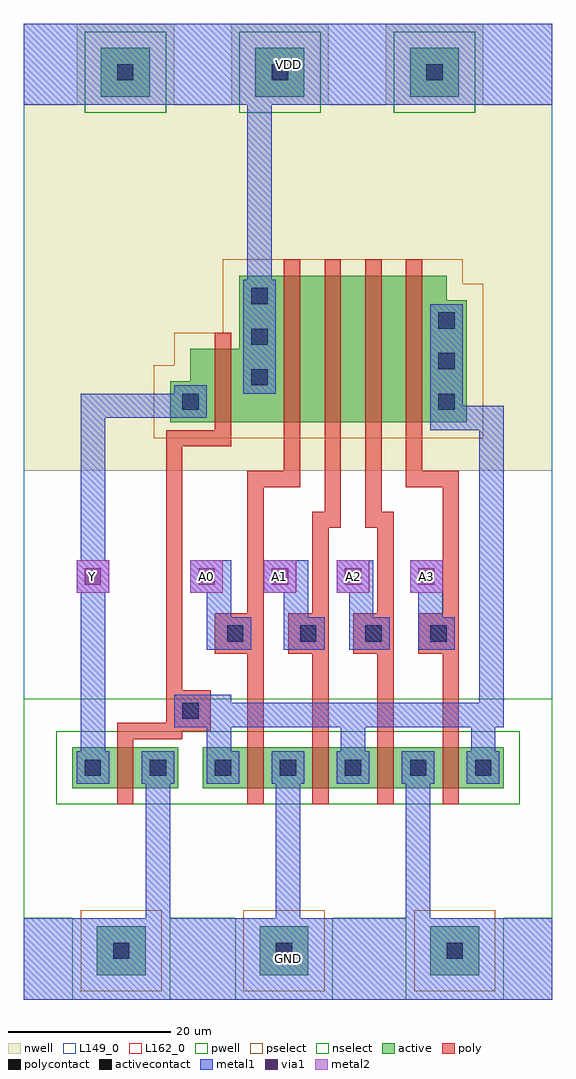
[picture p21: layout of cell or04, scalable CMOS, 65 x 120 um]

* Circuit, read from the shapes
.subckt or04 A0 A1 A2 A3 GND VDD Y
M1 GND n1 Y GND nfet w=5u l=2u
M2 GND A0 n1 GND nfet w=5u l=2u
M3 n1 A1 GND GND nfet w=5u l=2u
M4 GND A2 n1 GND nfet w=5u l=2u
M5 n1 A3 GND GND nfet w=5u l=2u
M6 VDD n1 Y VDD pfet w=9u l=2u
M7 n2 A0 VDD VDD pfet w=18u l=2u
M8 n3 A1 n2 VDD pfet w=18u l=2u
M9 n4 A2 n3 VDD pfet w=18u l=2u
M10 n1 A3 n4 VDD pfet w=18u l=2u
.ends

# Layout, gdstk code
import gdstk
lib = gdstk.Library(unit=1e-6, precision=1e-09)
def R(c, l, rs):  # rectangles x0, y0, x1, y1
    for r in rs: c.add(gdstk.rectangle(r[:2], r[2:], *l))
def A(c, l, x, y, w, h, nx, ny, dx, dy):  # array of equal rectangles
    R(c, l, [(x+i*dx, y+j*dy, x+i*dx+w, y+j*dy+h) for i in range(nx) for j in range(ny)])
def P(c, l, *ps):  # polygons
    for p in ps: c.add(gdstk.Polygon(p, *l))
pwell = (41, 0)
nwell = (42, 0)
active = (43, 0)
pselect = (44, 0)
nselect = (45, 0)
poly = (46, 0)
polycontact = (47, 0)
activecontact = (48, 0)
metal1 = (49, 0)
via1 = (50, 0)
metal2 = (51, 0)
L149_0 = (149, 0)
L162_0 = (162, 0)

nwell_contact = lib.new_cell('nwell_contact')
R(nwell_contact, nwell, [(-6,-5,6,6)])
R(nwell_contact, active, [(-3,-3,3,3)])
R(nwell_contact, nselect, [(-5,-5,5,5)])
R(nwell_contact, activecontact, [(-1,-1,1,1)])

pwell_contact = lib.new_cell('pwell_contact')
R(pwell_contact, pwell, [(-6,-6,6,5)])
R(pwell_contact, active, [(-3,-3,3,3)])
R(pwell_contact, pselect, [(-5,-5,5,5)])
R(pwell_contact, activecontact, [(-1,-1,1,1)])

via = lib.new_cell('via')
R(via, metal1, [(-2,-2,2,2)])
R(via, via1, [(-1,-1,1,1)])
R(via, metal2, [(-2,-2,2,2)])

or04 = lib.new_cell('or04')
R(or04, pwell, [(0,10,65,20), (0,10,65,37), (0,20,25,37), (16,20,65,37)])
R(or04, nwell, [(0,65,65,110), (0,95,65,110)])
P(or04, nwell, [(12,65),(60.5,65),(60.5,92),(58,92),(58,95),(20.5,95),(20.5,86),(14.5,86),(14.5,82),(12,82)])
R(or04, active, [(6,26,19,31), (22,26,59,31)])
P(or04, active, [(18,71),(54.5,71),(54.5,86),(52,86),(52,89),(26.5,89),(26.5,80),(20.5,80),(20.5,76),(18,76)])
P(or04, pselect, [(16,69),(56.5,69),(56.5,88),(54,88),(54,91),(24.5,91),(24.5,82),(18.5,82),(18.5,78),(16,78)])
R(or04, nselect, [(4,24,21,33), (20,24,61,33)])
A(or04, poly, 27.5, 24, 2, 2, 4, 2, 8, 7)
A(or04, poly, 27.5, 26, 2, 5, 4, 1, 8, 0)
A(or04, poly, 32.5, 42.5, 5, 5, 3, 1, 8, 0)
A(or04, poly, 32, 69, 2, 2, 4, 2, 5, 20)
A(or04, poly, 32, 71, 2, 18, 4, 1, 5, 0)
R(or04, poly, [(11.5,24,13.5,26), (11.5,26,13.5,31), (11.5,31,13.5,33), (18,33,23,38), (23.5,42.5,28.5,47.5), (23.5,69,25.5,71), (23.5,71,25.5,80), (23.5,80,25.5,82)])
A(or04, polycontact, 34, 44, 2, 2, 3, 1, 8, 0)
R(or04, polycontact, [(19.5,34.5,21.5,36.5), (25,44,27,46)])
A(or04, activecontact, 7.5, 27.5, 2, 2, 7, 1, 8, 0)
A(or04, activecontact, 51, 72.5, 2, 2, 1, 3, 0, 5)
A(or04, activecontact, 28, 75.5, 2, 2, 1, 3, 0, 5)
R(or04, activecontact, [(19.5,72.5,21.5,74.5)])
A(or04, metal1, 6.5, 26.5, 4, 4, 7, 1, 8, 0)
A(or04, metal1, 33, 43, 4, 4, 3, 1, 8, 0)
R(or04, metal1, [(0,0,65,10), (0,0,65,10), (18.5,33.5,22.5,37.5), (24,43,28,47), (18.5,71.5,22.5,75.5), (50,71.5,54,85.5), (27,74.5,31,88.5), (0,110,65,120), (0,110,65,120)])
A(or04, metal2, 20.5, 50, 4, 4, 4, 1, 9, 0)
R(or04, metal2, [(6.5,50,10.5,54)])
A(or04, L149_0, 33, 43, 4, 4, 3, 1, 8, 0)
R(or04, L149_0, [(0,0,65,10), (0,0,65,10), (0,0,65,120), (18.5,33.5,22.5,37.5), (24,43,28,47), (0,110,65,120), (0,110,65,120)])
A(or04, L162_0, 20.5, 50, 4, 4, 4, 1, 9, 0)
R(or04, L162_0, [(6.5,50,10.5,54)])
or04.add(gdstk.FlexPath([(50,71.5),(57.5,71.5),(57.5,35),(56.5,35),(56.5,30.5)], 3, ends="flush", simple_path=True, layer=149, datatype=0))  # L149_0
or04.add(gdstk.FlexPath([(40.5,30.5),(40.5,33.5)], 3, ends="flush", simple_path=True, layer=149, datatype=0))  # L149_0
or04.add(gdstk.FlexPath([(29,88.5),(29,110)], 3, ends="flush", simple_path=True, layer=149, datatype=0))  # L149_0
or04.add(gdstk.FlexPath([(8.5,30.5),(8.5,73),(18.5,73)], 3, ends="flush", simple_path=True, layer=149, datatype=0))  # L149_0
or04.add(gdstk.FlexPath([(32.5,26.5),(32.5,10)], 3, ends="flush", simple_path=True, layer=149, datatype=0))  # L149_0
or04.add(gdstk.FlexPath([(41.5,54),(41.5,43)], 3, ends="flush", simple_path=True, layer=149, datatype=0))  # L149_0
or04.add(gdstk.FlexPath([(48.5,26.5),(48.5,10)], 3, ends="flush", simple_path=True, layer=149, datatype=0))  # L149_0
or04.add(gdstk.FlexPath([(24,36.5),(24,37.5)], 3, ends="flush", simple_path=True, layer=149, datatype=0))  # L149_0
or04.add(gdstk.FlexPath([(33.5,54),(33.5,43)], 3, ends="flush", simple_path=True, layer=149, datatype=0))  # L149_0
or04.add(gdstk.FlexPath([(55,35),(24,35),(24,30.5)], 3, ends="flush", simple_path=True, layer=149, datatype=0))  # L149_0
or04.add(gdstk.FlexPath([(16.5,26.5),(16.5,10)], 3, ends="flush", simple_path=True, layer=149, datatype=0))  # L149_0
or04.add(gdstk.FlexPath([(50,54),(50,43)], 3, ends="flush", simple_path=True, layer=149, datatype=0))  # L149_0
or04.add(gdstk.FlexPath([(24,54),(24,43)], 3, ends="flush", simple_path=True, layer=149, datatype=0))  # L149_0
or04.add(gdstk.FlexPath([(50,71.5),(57.5,71.5),(57.5,35),(56.5,35),(56.5,30.5)], 3, ends="flush", simple_path=True, layer=49, datatype=0))  # metal1
or04.add(gdstk.FlexPath([(40.5,30.5),(40.5,33.5)], 3, ends="flush", simple_path=True, layer=49, datatype=0))  # metal1
or04.add(gdstk.FlexPath([(29,88.5),(29,110)], 3, ends="flush", simple_path=True, layer=49, datatype=0))  # metal1
or04.add(gdstk.FlexPath([(8.5,30.5),(8.5,73),(18.5,73)], 3, ends="flush", simple_path=True, layer=49, datatype=0))  # metal1
or04.add(gdstk.FlexPath([(32.5,26.5),(32.5,10)], 3, ends="flush", simple_path=True, layer=49, datatype=0))  # metal1
or04.add(gdstk.FlexPath([(41.5,54),(41.5,43)], 3, ends="flush", simple_path=True, layer=49, datatype=0))  # metal1
or04.add(gdstk.FlexPath([(48.5,26.5),(48.5,10)], 3, ends="flush", simple_path=True, layer=49, datatype=0))  # metal1
or04.add(gdstk.FlexPath([(24,36.5),(24,37.5)], 3, ends="flush", simple_path=True, layer=49, datatype=0))  # metal1
or04.add(gdstk.FlexPath([(33.5,54),(33.5,43)], 3, ends="flush", simple_path=True, layer=49, datatype=0))  # metal1
or04.add(gdstk.FlexPath([(55,35),(24,35),(24,30.5)], 3, ends="flush", simple_path=True, layer=49, datatype=0))  # metal1
or04.add(gdstk.FlexPath([(16.5,26.5),(16.5,10)], 3, ends="flush", simple_path=True, layer=49, datatype=0))  # metal1
or04.add(gdstk.FlexPath([(50,54),(50,43)], 3, ends="flush", simple_path=True, layer=49, datatype=0))  # metal1
or04.add(gdstk.FlexPath([(24,54),(24,43)], 3, ends="flush", simple_path=True, layer=49, datatype=0))  # metal1
or04.add(gdstk.FlexPath([(38,69),(38,59),(36.5,59),(36.5,33)], 2, ends="flush", simple_path=True, layer=46, datatype=0))  # poly
or04.add(gdstk.FlexPath([(11.5,33),(18.5,33),(18.5,69),(25.5,69)], 2, ends="flush", simple_path=True, layer=46, datatype=0))  # poly
or04.add(gdstk.FlexPath([(33,69),(33,64),(28.5,64),(28.5,33)], 2, ends="flush", simple_path=True, layer=46, datatype=0))  # poly
or04.add(gdstk.FlexPath([(48,69),(48,64),(52.5,64),(52.5,33)], 2, ends="flush", simple_path=True, layer=46, datatype=0))  # poly
or04.add(gdstk.FlexPath([(43,69),(43,59),(44.5,59),(44.5,33)], 2, ends="flush", simple_path=True, layer=46, datatype=0))  # poly
or04.add(gdstk.Reference(nwell_contact, (31.5,114)))
or04.add(gdstk.Reference(nwell_contact, (12.5,114)))
or04.add(gdstk.Reference(nwell_contact, (50.5,114)))
or04.add(gdstk.Reference(pwell_contact, (12,6)))
or04.add(gdstk.Reference(pwell_contact, (53,6)))
or04.add(gdstk.Reference(pwell_contact, (32,6)))
or04.add(gdstk.Reference(via, (40.5,52)))
or04.add(gdstk.Reference(via, (31.5,52)))
or04.add(gdstk.Reference(via, (8.5,52)))
or04.add(gdstk.Reference(via, (49.5,52)))
or04.add(gdstk.Reference(via, (22.5,52)))
or04.add(gdstk.Label('Y', (8.5,52), layer=3, texttype=0))
or04.add(gdstk.Label('A3', (49.5,52), layer=3, texttype=0))
or04.add(gdstk.Label('A1', (31.5,52), layer=3, texttype=0))
or04.add(gdstk.Label('A0', (22.5,52), layer=3, texttype=0))
or04.add(gdstk.Label('A2', (40.5,52), layer=3, texttype=0))
or04.add(gdstk.Label('GND', (32.5,5), layer=2, texttype=0))
or04.add(gdstk.Label('VDD', (32.5,115), layer=2, texttype=0))

lib.write_gds('or04.gds')
